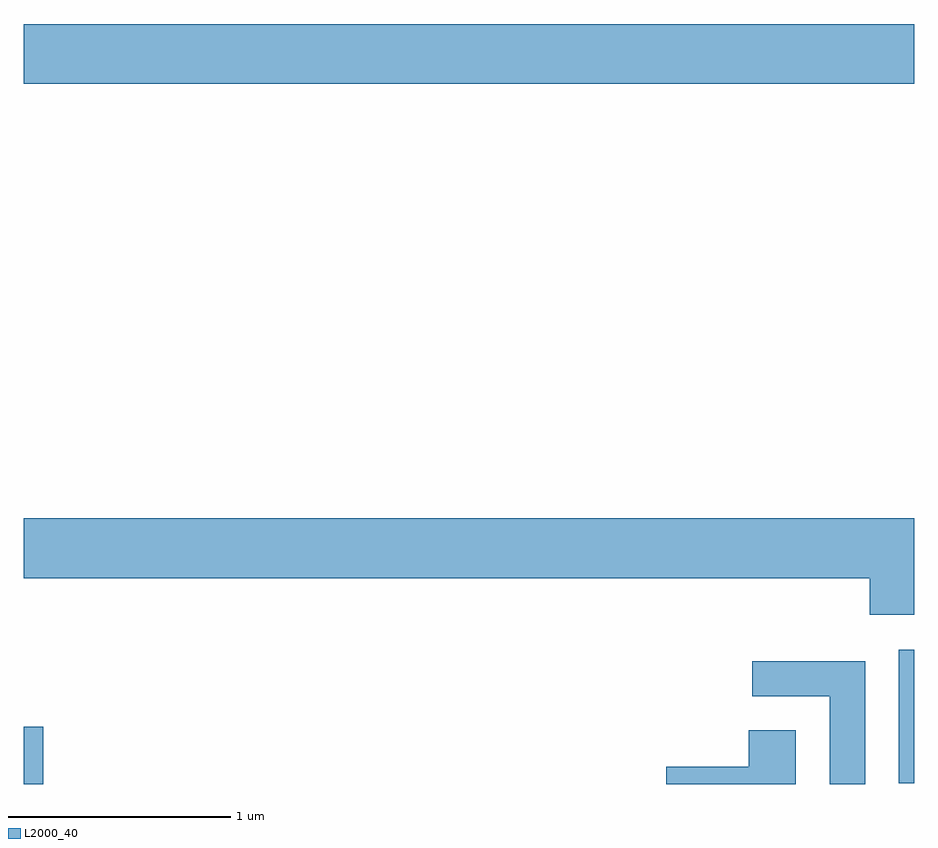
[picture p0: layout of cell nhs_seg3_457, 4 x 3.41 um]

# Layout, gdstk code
import gdstk
lib = gdstk.Library(unit=1e-6, precision=1e-09)
def R(c, l, rs):  # rectangles x0, y0, x1, y1
    for r in rs: c.add(gdstk.rectangle(r[:2], r[2:], *l))
def P(c, l, *ps):  # polygons
    for p in ps: c.add(gdstk.Polygon(p, *l))
L2000_40 = (2000, 40)

nhs_seg3_457 = lib.new_cell('nhs_seg3_457')
R(nhs_seg3_457, L2000_40, [(197.611,1213.892,197.699,1214.149), (201.541,1213.896,201.611,1214.494), (197.611,1217.036,201.611,1217.304)])
P(nhs_seg3_457, L2000_40, [(201.611,1215.084),(197.611,1215.084),(197.611,1214.816),(201.411,1214.816),(201.411,1214.651),(201.611,1214.651)],
  [(201.389,1214.444),(200.883,1214.444),(200.883,1214.286),(201.231,1214.286),(201.231,1213.892),(201.389,1213.892)],
  [(201.079,1214.134),(200.866,1214.134),(200.866,1213.969),(200.496,1213.969),(200.496,1213.892),(201.079,1213.892)])

lib.write_gds('nhs_seg3_457.gds')
